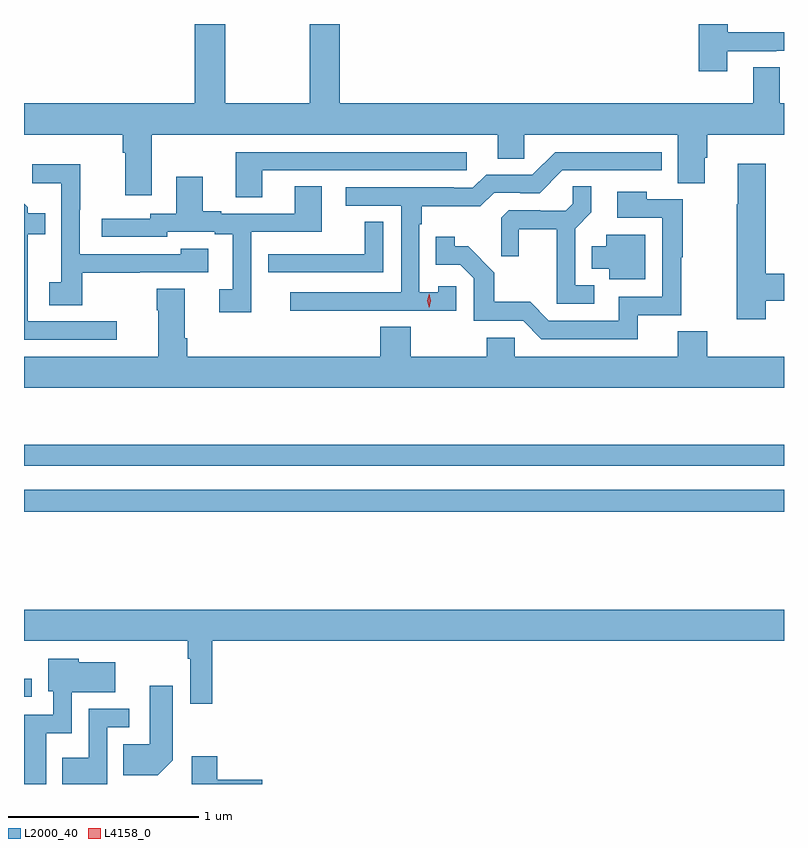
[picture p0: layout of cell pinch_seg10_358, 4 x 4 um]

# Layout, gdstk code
import gdstk
lib = gdstk.Library(unit=1e-6, precision=1e-09)
def R(c, l, rs):  # rectangles x0, y0, x1, y1
    for r in rs: c.add(gdstk.rectangle(r[:2], r[2:], *l))
def P(c, l, *ps):  # polygons
    for p in ps: c.add(gdstk.Polygon(p, *l))
L2000_40 = (2000, 40)
L4158_0 = (4158, 0)

pinch_seg10_358 = lib.new_cell('pinch_seg10_358')
R(pinch_seg10_358, L2000_40, [(542.989,1265.388,543.031,1265.485), (542.989,1266.364,546.989,1266.48), (542.989,1266.606,546.989,1266.715)])
P(pinch_seg10_358, L2000_40, [(545.483,1268.221),(545.622,1268.221),(545.622,1268.348),(546.431,1268.348),(546.431,1268.092),(546.571,1268.092),(546.571,1268.226),(546.584,1268.226),(546.584,1268.348),(546.989,1268.348),(546.989,1268.512),(546.967,1268.512),(546.967,1268.702),(546.827,1268.702),(546.827,1268.512),(544.652,1268.512),(544.652,1268.93),(544.492,1268.93),(544.492,1268.512),(544.047,1268.512),(544.047,1268.93),(543.887,1268.93),(543.887,1268.512),(542.989,1268.512),(542.989,1268.348),(543.509,1268.348),(543.509,1268.252),(543.521,1268.252),(543.521,1268.028),(543.661,1268.028),(543.661,1268.348),(545.483,1268.348)],
  [(546.691,1268.787),(546.947,1268.787),(546.947,1268.79),(546.989,1268.79),(546.989,1268.887),(546.694,1268.887),(546.694,1268.93),(546.539,1268.93),(546.539,1268.682),(546.691,1268.682)],
  [(544.243,1268.16),(545.32,1268.16),(545.32,1268.256),(544.103,1268.256),(544.103,1268.017),(544.243,1268.017)],
  [(544.781,1267.422),(545.265,1267.422),(545.265,1267.551),(545.169,1267.551),(545.169,1267.519),(545.07,1267.519),(545.07,1267.877),(545.083,1267.877),(545.083,1267.97),(545.39,1267.97),(545.463,1268.043),(545.602,1268.043),(545.602,1268.04),(545.703,1268.04),(545.823,1268.16),(546.346,1268.16),(546.346,1268.256),(545.784,1268.256),(545.664,1268.136),(545.421,1268.136),(545.352,1268.067),(545.252,1268.067),(545.252,1268.07),(544.683,1268.07),(544.683,1267.974),(544.974,1267.974),(544.974,1267.518),(544.389,1267.518),(544.389,1267.42),(544.781,1267.42)],
  [(546.893,1267.474),(546.989,1267.474),(546.989,1267.616),(546.893,1267.616),(546.893,1268.194),(546.746,1268.194),(546.746,1267.981),(546.739,1267.981),(546.739,1267.376),(546.893,1267.376)],
  [(543.295,1267.621),(543.599,1267.621),(543.599,1267.623),(543.958,1267.623),(543.958,1267.747),(543.813,1267.747),(543.813,1267.719),(543.282,1267.719),(543.282,1267.952),(543.285,1267.952),(543.285,1268.191),(543.033,1268.191),(543.033,1268.093),(543.186,1268.093),(543.186,1267.572),(543.123,1267.572),(543.123,1267.45),(543.295,1267.45)],
  [(544.185,1267.836),(544.555,1267.836),(544.555,1268.075),(544.415,1268.075),(544.415,1267.932),(544.027,1267.932),(544.027,1267.945),(543.931,1267.945),(543.931,1268.125),(543.791,1268.125),(543.791,1267.932),(543.654,1267.932),(543.654,1267.905),(543.399,1267.905),(543.399,1267.809),(543.744,1267.809),(543.744,1267.836),(543.992,1267.836),(543.992,1267.824),(544.088,1267.824),(544.088,1267.533),(544.017,1267.533),(544.017,1267.413),(544.185,1267.413)],
  [(545.989,1267.554),(545.889,1267.554),(545.889,1267.853),(545.975,1267.939),(545.975,1268.075),(545.877,1268.075),(545.877,1267.984),(545.84,1267.947),(545.706,1267.947),(545.706,1267.95),(545.541,1267.95),(545.5,1267.909),(545.5,1267.707),(545.594,1267.707),(545.594,1267.85),(545.792,1267.85),(545.792,1267.458),(545.989,1267.458)],
  [(546.218,1267.398),(546.449,1267.398),(546.449,1267.703),(546.457,1267.703),(546.457,1268.007),(546.267,1268.007),(546.267,1268.047),(546.111,1268.047),(546.111,1267.911),(546.348,1267.911),(546.348,1267.494),(546.119,1267.494),(546.119,1267.368),(545.751,1267.368),(545.653,1267.467),(545.464,1267.467),(545.464,1267.622),(545.326,1267.76),(545.256,1267.76),(545.256,1267.81),(545.155,1267.81),(545.155,1267.662),(545.286,1267.662),(545.355,1267.593),(545.355,1267.368),(545.616,1267.368),(545.712,1267.272),(546.218,1267.272)],
  [(543.478,1267.365),(543.01,1267.365),(543.01,1267.824),(543.101,1267.824),(543.101,1267.933),(543.009,1267.933),(543.009,1267.965),(542.989,1267.985),(542.989,1267.269),(543.478,1267.269)],
  [(544.881,1267.889),(544.783,1267.889),(544.783,1267.719),(544.387,1267.719),(544.387,1267.718),(544.275,1267.718),(544.275,1267.623),(544.881,1267.623)],
  [(546.259,1267.822),(546.053,1267.822),(546.053,1267.759),(545.978,1267.759),(545.978,1267.643),(546.068,1267.643),(546.068,1267.586),(546.259,1267.586)],
  [(543.835,1267.276),(543.835,1267.537),(543.688,1267.537),(543.688,1267.424),(543.695,1267.424),(543.695,1267.18),(542.989,1267.18),(542.989,1267.016),(546.989,1267.016),(546.989,1267.18),(546.584,1267.18),(546.584,1267.313),(546.431,1267.313),(546.431,1267.18),(545.571,1267.18),(545.571,1267.278),(545.425,1267.278),(545.425,1267.18),(545.025,1267.18),(545.025,1267.337),(544.865,1267.337),(544.865,1267.18),(543.848,1267.18),(543.848,1267.276)],
  [(543.98,1265.684),(546.989,1265.684),(546.989,1265.848),(542.989,1265.848),(542.989,1265.684),(543.852,1265.684),(543.852,1265.588),(543.864,1265.588),(543.864,1265.352),(543.98,1265.352)],
  [(543.106,1265.198),(543.24,1265.198),(543.24,1265.414),(543.469,1265.414),(543.469,1265.572),(543.276,1265.572),(543.276,1265.59),(543.116,1265.59),(543.116,1265.418),(543.144,1265.418),(543.144,1265.295),(542.989,1265.295),(542.989,1264.93),(543.106,1264.93)],
  [(543.772,1265.054),(543.772,1265.446),(543.65,1265.446),(543.65,1265.14),(543.511,1265.14),(543.511,1264.976),(543.694,1264.976)],
  [(543.426,1265.229),(543.544,1265.229),(543.544,1265.325),(543.33,1265.325),(543.33,1265.068),(543.191,1265.068),(543.191,1264.93),(543.426,1264.93)],
  [(544.243,1264.952),(544.007,1264.952),(544.007,1265.077),(543.872,1265.077),(543.872,1264.93),(544.243,1264.93)])
P(pinch_seg10_358, L4158_0, [(545.121,1267.437),(545.121,1267.437),(545.111,1267.473),(545.121,1267.509),(545.121,1267.51),(545.122,1267.509),(545.131,1267.473),(545.122,1267.437)])

lib.write_gds('pinch_seg10_358.gds')
